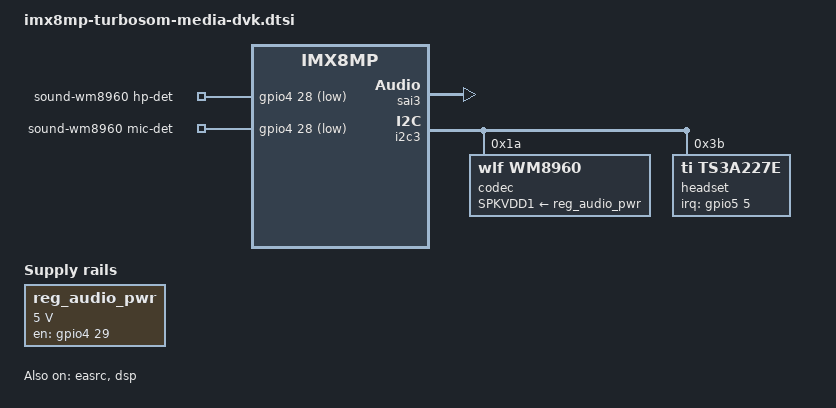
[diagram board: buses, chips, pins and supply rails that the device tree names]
// SPDX-License-Identifier: (GPL-2.0+ OR MIT)
/*
 * Copyright 2021 Laird Connectivity
 */

/ {
	reg_audio_pwr: regulator-audio-pwr {
		compatible = "regulator-fixed";

		pinctrl-names = "default";
		pinctrl-0 = <&pinctrl_audpwr>;

		gpio = <&gpio4 29 GPIO_ACTIVE_HIGH>;

		regulator-name = "audio-pwr";

		regulator-min-microvolt = <5000000>;
		regulator-max-microvolt = <5000000>;

		enable-active-high;
		regulator-always-on;
	};

	sound-xcvr {
		compatible = "fsl,imx-audio-xcvr";
		model = "imx-audio-xcvr";
		cpu-dai = <&xcvr>;
		status = "disabled";
	};

	sound-wm8960 {
		compatible = "lrd,imx7d-dvk-wm8960", "lrd,imx-audio-wm8960";

		pinctrl-names = "default";
		pinctrl-0 = <&pinctrl_wm8960>;

		model = "wm8960-audio";
		cpu-dai = <&sai3>;
		audio-codec = <&codec>;
		asrc-controller = <&easrc>;
		headset-controller = <&headset>;
		codec-master;
		/* JD3: hp detect low for headphone */
		hp-det = <3 1>;
		hp-det-gpios = <&gpio4 28 GPIO_ACTIVE_LOW>;
		mic-det-gpios = <&gpio4 28 GPIO_ACTIVE_LOW>;
		audio-routing =
			"Headphone Jack", "HP_L",
			"Headphone Jack", "HP_R",
			"Ext Spk", "SPK_LP",
			"Ext Spk", "SPK_LN",
			"Ext Spk", "SPK_RP",
			"Ext Spk", "SPK_RN",
			"LINPUT1", "Mic Jack",
			"CPU-Playback", "ASRC-Playback",
			"Playback", "CPU-Playback",
			"ASRC-Capture", "CPU-Capture",
			"CPU-Capture", "Capture";
	};
};

&gpiokeys {
	pinctrl-0 = <&pinctrl_wakeup_keys &pinctrl_audio_keys>;

	volume-up {
		label = "Volume Up";
		gpios = <&gpio3 23 GPIO_ACTIVE_LOW>;
		linux,code = <KEY_VOLUMEUP>;
	};

	volume-down {
		label = "Volume Down";
		gpios = <&gpio3 22 GPIO_ACTIVE_LOW>;
		linux,code = <KEY_VOLUMEDOWN>;
	};
};

&iomuxc {
	pinctrl_audpwr: audpwrgrp {
		fsl,pins = <
			MX8MP_IOMUXC_SAI3_RXC__GPIO4_IO29		0x00000002
		>;
	};

	pinctrl_wm8960: wm8960grp {
		fsl,pins = <
			MX8MP_IOMUXC_SAI3_RXFS__GPIO4_IO28		0x86
		>;
	};

	pinctrl_ts3a227e: ts3a227egrp {
		fsl,pins = <
			MX8MP_IOMUXC_SPDIF_EXT_CLK__GPIO5_IO05     0x000001C6
		>;
	};

	pinctrl_sai3: sai3grp {
		fsl,pins = <
			MX8MP_IOMUXC_SAI3_TXFS__AUDIOMIX_SAI3_TX_SYNC	0xd6
			MX8MP_IOMUXC_SAI3_TXC__AUDIOMIX_SAI3_TX_BCLK	0xd6
			MX8MP_IOMUXC_SAI3_RXD__AUDIOMIX_SAI3_RX_DATA00	0xd6
			MX8MP_IOMUXC_SAI3_TXD__AUDIOMIX_SAI3_TX_DATA00	0xd6
			MX8MP_IOMUXC_SAI3_MCLK__AUDIOMIX_SAI3_MCLK	0xd6
		>;
	};

	pinctrl_audio_keys: audio_keysgrp { 
		fsl,pins = <
			MX8MP_IOMUXC_SAI5_RXD1__GPIO3_IO22         0x400001C6
			MX8MP_IOMUXC_SAI5_RXD2__GPIO3_IO23         0x400001C6
		>;
	};
};

&xcvr {
	#sound-dai-cells = <0>;
//	status = "okay";
};

&sai3 {
	pinctrl-names = "default";
	pinctrl-0 = <&pinctrl_sai3>;
	assigned-clocks = <&clk IMX8MP_CLK_SAI3>;
	assigned-clock-parents = <&clk IMX8MP_AUDIO_PLL1_OUT>;
	assigned-clock-rates = <12288000>;
	clocks = <&audiomix_clk IMX8MP_CLK_AUDIOMIX_SAI3_IPG>, <&clk IMX8MP_CLK_DUMMY>,
		 <&audiomix_clk IMX8MP_CLK_AUDIOMIX_SAI3_MCLK1>, <&clk IMX8MP_CLK_DUMMY>,
		 <&clk IMX8MP_CLK_DUMMY>;
	clock-names = "bus", "mclk0", "mclk1", "mclk2", "mclk3";
	fsl,sai-mclk-direction-output;
	status = "okay";
};

&easrc {
	fsl,asrc-rate  = <48000>;
	status = "okay";
};

&dsp {
	status = "okay";
};

&i2c3 {
	codec: wm8960@1a {
		compatible = "wlf,wm8960";
		reg = <0x1a>;
		clocks = <&audiomix_clk IMX8MP_CLK_AUDIOMIX_SAI3_MCLK1>;
		clock-names = "mclk";
		wlf,shared-lrclk;
		SPKVDD1-supply = <&reg_audio_pwr>;
	};

	headset: ts3a227e@3b {
		pinctrl-names = "default";
		pinctrl-0 = <&pinctrl_ts3a227e>;

		compatible = "ti,ts3a227e";
		reg = <0x3b>;
		interrupt-parent = <&gpio5>;
		interrupts = <5 IRQ_TYPE_LEVEL_LOW>;
		ti,micbias = <0>;
	};
};
